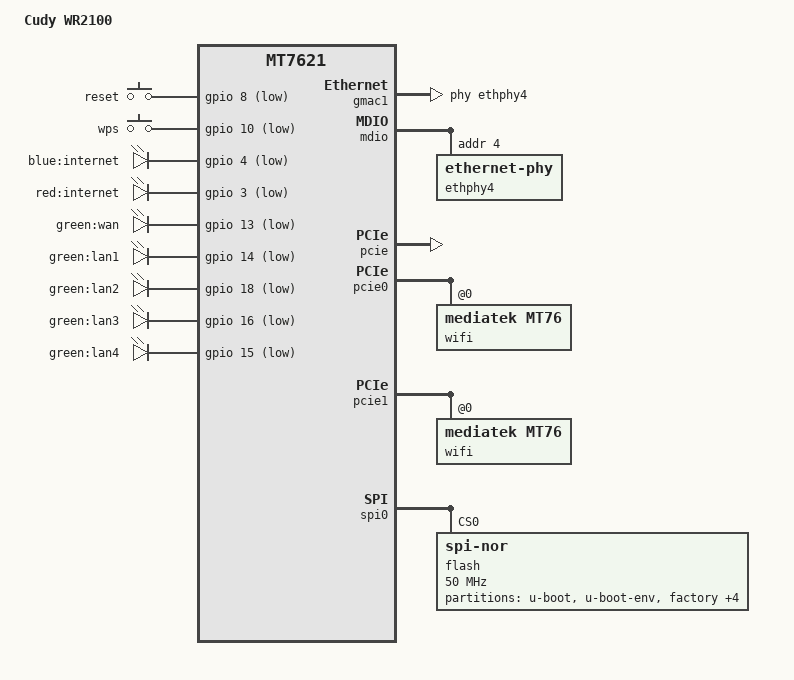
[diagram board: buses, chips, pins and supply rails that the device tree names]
// SPDX-License-Identifier: GPL-2.0-or-later OR MIT

#include "mt7621.dtsi"

#include <dt-bindings/gpio/gpio.h>
#include <dt-bindings/input/input.h>

/ {
	compatible = "cudy,wr2100", "mediatek,mt7621-soc";
	model = "Cudy WR2100";

	aliases {
		led-boot = &led_internet_blue;
		led-failsafe = &led_internet_blue;
		led-running = &led_internet_blue;
		led-upgrade = &led_internet_blue;
		label-mac-device = &gmac0;
	};

	chosen {
		bootargs = "console=ttyS0,115200";
	};

	keys {
		compatible = "gpio-keys";

		reset {
			label = "reset";
			gpios = <&gpio 8 GPIO_ACTIVE_LOW>;
			linux,code = <KEY_RESTART>;
		};

		wps {
			label = "wps";
			gpios = <&gpio 10 GPIO_ACTIVE_LOW>;
			linux,code = <KEY_WPS_BUTTON>;
		};
	};

	leds {
		compatible = "gpio-leds";

		led_internet_blue: internet_blue {
			label = "blue:internet";
			gpios = <&gpio 4 GPIO_ACTIVE_LOW>;
		};

		internet_red {
			label = "red:internet";
			gpios = <&gpio 3 GPIO_ACTIVE_LOW>;
		};

		wan {
			label = "green:wan";
			gpios = <&gpio 13 GPIO_ACTIVE_LOW>;
		};

		lan1 {
			label = "green:lan1";
			gpios = <&gpio 14 GPIO_ACTIVE_LOW>;
		};

		lan2 {
			label = "green:lan2";
			gpios = <&gpio 18 GPIO_ACTIVE_LOW>;
		};

		lan3 {
			label = "green:lan3";
			gpios = <&gpio 16 GPIO_ACTIVE_LOW>;
		};

		lan4 {
			label = "green:lan4";
			gpios = <&gpio 15 GPIO_ACTIVE_LOW>;
		};
	};
};

&gmac0 {
	mtd-mac-address = <&bdinfo 0xde00>;
};

&gmac1 {
	status = "okay";
	label = "wan";
	phy-handle = <&ethphy4>;

	mtd-mac-address = <&bdinfo 0xde00>;
	mtd-mac-address-increment = <1>;
};

&mdio {
	ethphy4: ethernet-phy@4 {
		reg = <4>;
	};
};

&pcie {
	status = "okay";
};

&pcie0 {
	wifi@0,0 {
		compatible = "mediatek,mt76";
		reg = <0x0000 0 0 0 0>;
		mediatek,mtd-eeprom = <&factory 0x0000>;
		ieee80211-freq-limit = <2400000 2500000>;
	};
};

&pcie1 {
	wifi@1,0 {
		compatible = "mediatek,mt76";
		reg = <0x0000 0 0 0 0>;
		mediatek,mtd-eeprom = <&factory 0x8000>;
		ieee80211-freq-limit = <5000000 6000000>;
	};
};

&spi0 {
	status = "okay";

	flash@0 {
		compatible = "jedec,spi-nor";
		reg = <0>;
		spi-max-frequency = <50000000>;

		partitions {
			compatible = "fixed-partitions";
			#address-cells = <1>;
			#size-cells = <1>;

			partition@0 {
				label = "u-boot";
				reg = <0x0 0x30000>;
				read-only;
			};

			partition@30000 {
				label = "u-boot-env";
				reg = <0x30000 0x10000>;
				read-only;
			};

			factory: partition@40000 {
				label = "factory";
				reg = <0x40000 0x10000>;
				read-only;
			};

			partition@50000 {
				compatible = "denx,uimage";
				label = "firmware";
				reg = <0x50000 0xf80000>;
			};

			partition@fd0000 {
				label = "debug";
				reg = <0xfd0000 0x10000>;
				read-only;
			};

			partition@fe0000 {
				label = "backup";
				reg = <0xfe0000 0x10000>;
				read-only;
			};

			bdinfo: partition@ff0000 {
				label = "bdinfo";
				reg = <0xff0000 0x10000>;
				read-only;
			};
		};
	};
};

&state_default {
	gpio {
		groups = "i2c", "jtag", "uart2", "uart3", "wdt";
		function = "gpio";
	};
};

&switch0 {
	ports {
		port@0 {
			status = "okay";
			label = "lan1";
		};

		port@1 {
			status = "okay";
			label = "lan2";
		};

		port@2 {
			status = "okay";
			label = "lan3";
		};

		port@3 {
			status = "okay";
			label = "lan4";
		};
	};
};
